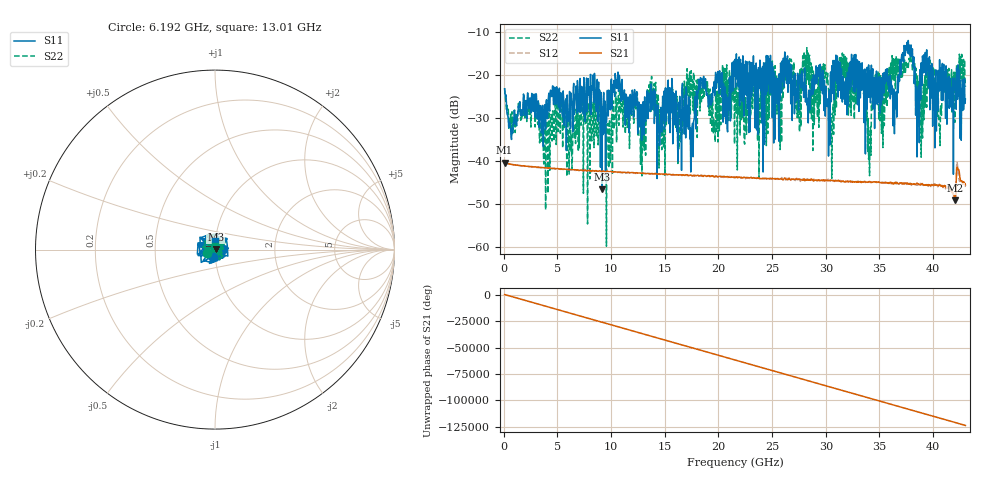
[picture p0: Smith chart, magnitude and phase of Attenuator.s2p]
# Hz S RI R 50.000000
! Metas.Vna.Tools, 2.9.9438.25149
! Metas.Vna.Data, 2.9.9438.25100
! Created: UTC 2026.07.01 05:49:34
! FREQ  re:S1,1  im:S1,1  re:S2,1  im:S2,1  re:S1,2  im:S1,2  re:S2,2  im:S2,2
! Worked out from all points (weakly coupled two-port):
!   1001 points, 100 MHz to 43 GHz, reference 50 ohm
!   highest |S21| = -40.37 dB at 100 MHz (marker M1); lowest = -49.1 dB at 42.06 GHz (marker M2)
!   lowest |S11| = -46.5 dB at 9.152 GHz (marker M3), VSWR 1.01, Z = 50.4 + j0.182 ohm
!   |S11| at or under -10 dB: start of sweep to end of sweep
!   |S22| runs from -59.8 to -13.6 dB; largest |S21 - S12| = 0.0063
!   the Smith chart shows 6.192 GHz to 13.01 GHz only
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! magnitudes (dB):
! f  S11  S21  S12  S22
! 100 MHz  -23.2  -40.4  -40.3  -23.1
! 3.918 GHz  -32.7  -41.6  -41.6  -51.3
! 7.264 GHz  -22.6  -42.1  -42.1  -25.2
! 9.152 GHz  -46.5  -42.4  -42.4  -28.1
! 9.795 GHz  -23.5  -42.5  -42.6  -41.6
! 10.61 GHz  -21.0  -42.6  -42.7  -25.8
! 14.43 GHz  -33.0  -43.0  -43.0  -26.4
! 21.55 GHz  -16.4  -43.8  -43.9  -22.8
! 28.71 GHz  -21.0  -44.3  -44.4  -17.8
! 30 GHz  -22.6  -44.4  -44.5  -20.6
! 30.64 GHz  -24.2  -44.6  -44.4  -28.9
! 31.37 GHz  -21.9  -44.6  -44.5  -21.8
! 33.3 GHz  -21.9  -45.0  -45.0  -20.5
! 33.99 GHz  -17.6  -44.8  -44.8  -39.6
! 34.68 GHz  -26.5  -44.9  -44.9  -24.7
! 35.88 GHz  -23.9  -45.0  -45.0  -24.9
! 36.44 GHz  -25.2  -45.2  -45.0  -16.1
! 37.51 GHz  -14.1  -45.1  -45.4  -17.8
! 38.5 GHz  -39.0  -45.1  -45.6  -21.9
! 39.22 GHz  -18.4  -45.5  -45.4  -20.0
! 42.06 GHz  -23.6  -49.1  -48.9  -19.3
! 43 GHz  -25.6  -45.5  -45.6  -22.7
